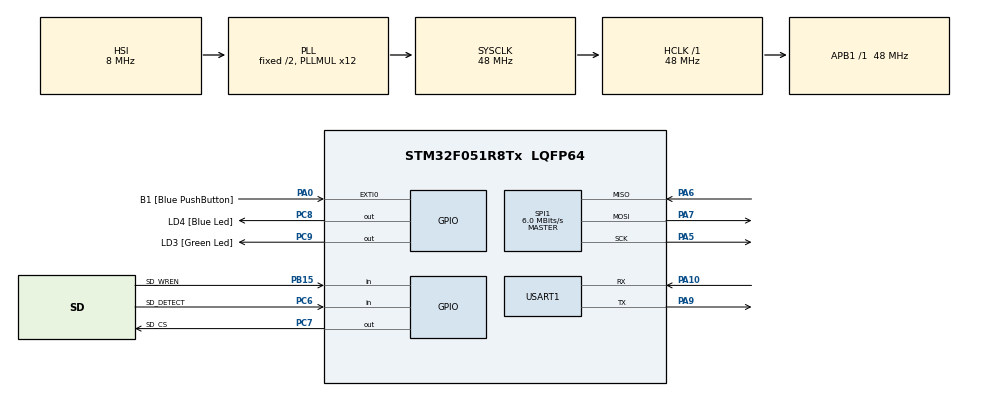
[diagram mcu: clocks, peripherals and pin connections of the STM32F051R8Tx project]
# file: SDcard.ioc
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FATFS._MAX_SS=512
FATFS._USE_LFN=2
FREERTOS.Tasks01=defaultTask,0,128,StartDefaultTask,Default,NULL
Mcu.Family=STM32F0
Mcu.Name=STM32F051R8Tx
Mcu.Package=LQFP64
PA0.GPIO_Label=B1 [Blue PushButton]
PA0.GPIO_ModeDefaultEXTI=GPIO_MODE_EVT_RISING
PA0.Signal=GPXTI0
PA10.Mode=Asynchronous
PA10.Signal=USART1_RX
PA13.GPIO_Label=SWDIO
PA13.Mode=Serial_Wire
PA13.Signal=SYS_SWDIO
PA14.GPIO_Label=SWCLK
PA14.Mode=Serial_Wire
PA14.Signal=SYS_SWCLK
PA5.Mode=Full_Duplex_Master
PA5.Signal=SPI1_SCK
PA6.Mode=Full_Duplex_Master
PA6.Signal=SPI1_MISO
PA7.Mode=Full_Duplex_Master
PA7.Signal=SPI1_MOSI
PA9.Mode=Asynchronous
PA9.Signal=USART1_TX
PB15.GPIO_Label=SD_WREN
PB15.GPIO_PuPd=GPIO_PULLUP
PB15.Signal=GPIO_Input
PC6.GPIO_Label=SD_DETECT
PC6.GPIO_PuPd=GPIO_PULLUP
PC6.Signal=GPIO_Input
PC7.GPIO_Label=SD_CS
PC7.GPIO_Speed=GPIO_SPEED_FREQ_HIGH
PC7.PinState=GPIO_PIN_SET
PC7.Signal=GPIO_Output
PC8.GPIO_Label=LD4 [Blue Led]
PC8.Signal=GPIO_Output
PC9.GPIO_Label=LD3 [Green Led]
PC9.Signal=GPIO_Output
ProjectManager.HeapSize=0x200
ProjectManager.StackSize=0x400
ProjectManager.TargetToolchain=TrueSTUDIO
RCC.AHBFreq_Value=48000000
RCC.APB1Freq_Value=48000000
RCC.APB1TimFreq_Value=48000000
RCC.HCLKFreq_Value=48000000
RCC.PLLMUL=RCC_PLL_MUL12
RCC.SYSCLKFreq_VALUE=48000000
RCC.SYSCLKSource=RCC_SYSCLKSOURCE_PLLCLK
SPI1.BaudRatePrescaler=SPI_BAUDRATEPRESCALER_8
SPI1.CalculateBaudRate=6.0 MBits/s
SPI1.DataSize=SPI_DATASIZE_8BIT
SPI1.Direction=SPI_DIRECTION_2LINES
SPI1.Mode=SPI_MODE_MASTER
SPI1.VirtualType=VM_MASTER
USART1.VirtualMode-Asynchronous=VM_ASYNC
VP_FATFS_VS_Generic.Mode=User_defined
VP_FREERTOS_VS_ENABLE.Mode=Enabled
board=STM32F0DISCOVERY

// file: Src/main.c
/* USER CODE BEGIN Header */
/**
  ******************************************************************************
  * @file           : main.c
  * @brief          : Main program body
  ******************************************************************************
  * This notice applies to any and all portions of this file
  * that are not between comment pairs USER CODE BEGIN and
  * USER CODE END. Other portions of this file, whether
  * inserted by the user or by software development tools
  * are owned by their respective copyright owners.
  *
  * Copyright (c) 2019 STMicroelectronics International N.V.
  * All rights reserved.
  *
  * Redistribution and use in source and binary forms, with or without
  * modification, are permitted, provided that the following conditions are met:
  *
  * 1. Redistribution of source code must retain the above copyright notice,
  *    this list of conditions and the following disclaimer.
  * 2. Redistributions in binary form must reproduce the above copyright notice,
  *    this list of conditions and the following disclaimer in the documentation
  *    and/or other materials provided with the distribution.
  * 3. Neither the name of STMicroelectronics nor the names of other
  *    contributors to this software may be used to endorse or promote products
  *    derived from this software without specific written permission.
  * 4. This software, including modifications and/or derivative works of this
  *    software, must execute solely and exclusively on microcontroller or
  *    microprocessor devices manufactured by or for STMicroelectronics.
  * 5. Redistribution and use of this software other than as permitted under
  *    this license is void and will automatically terminate your rights under
  *    this license.
  *
  * THIS SOFTWARE IS PROVIDED BY STMICROELECTRONICS AND CONTRIBUTORS "AS IS"
  * AND ANY EXPRESS, IMPLIED OR STATUTORY WARRANTIES, INCLUDING, BUT NOT
  * LIMITED TO, THE IMPLIED WARRANTIES OF MERCHANTABILITY, FITNESS FOR A
  * PARTICULAR PURPOSE AND NON-INFRINGEMENT OF THIRD PARTY INTELLECTUAL PROPERTY
  * RIGHTS ARE DISCLAIMED TO THE FULLEST EXTENT PERMITTED BY LAW. IN NO EVENT
  * SHALL STMICROELECTRONICS OR CONTRIBUTORS BE LIABLE FOR ANY DIRECT, INDIRECT,
  * INCIDENTAL, SPECIAL, EXEMPLARY, OR CONSEQUENTIAL DAMAGES (INCLUDING, BUT NOT
  * LIMITED TO, PROCUREMENT OF SUBSTITUTE GOODS OR SERVICES; LOSS OF USE, DATA,
  * OR PROFITS; OR BUSINESS INTERRUPTION) HOWEVER CAUSED AND ON ANY THEORY OF
  * LIABILITY, WHETHER IN CONTRACT, STRICT LIABILITY, OR TORT (INCLUDING
  * NEGLIGENCE OR OTHERWISE) ARISING IN ANY WAY OUT OF THE USE OF THIS SOFTWARE,
  * EVEN IF ADVISED OF THE POSSIBILITY OF SUCH DAMAGE.
  *
  ******************************************************************************
  */
/* USER CODE END Header */

#include "main.h"
#include "cmsis_os.h"
#include "fatfs.h"
#include "stm32f0xx_hal.h"

SPI_HandleTypeDef hspi1;

UART_HandleTypeDef huart1;

osThreadId defaultTaskHandle;
/* USER CODE BEGIN PV */

FATFS fs;
FATFS *pfs;
FIL fil;
FRESULT fres;
DWORD fre_clust;
uint32_t total, free;
char buffer[100];

/* USER CODE END PV */

void SystemClock_Config(void);
static void MX_GPIO_Init(void);
static void MX_SPI1_Init(void);
static void MX_USART1_UART_Init(void);
void StartDefaultTask(void const * argument);

int main(void)
{

  /* MCU Configuration--------------------------------------------------------*/

  /* Reset of all peripherals, Initializes the Flash interface and the Systick. */
  HAL_Init();

  /* Configure the system clock */
  SystemClock_Config();

  /* Initialize all configured peripherals */
  MX_GPIO_Init();
  MX_SPI1_Init();
  MX_USART1_UART_Init();

  /* Create the thread(s) */
  /* definition and creation of defaultTask */
  osThreadDef(defaultTask, StartDefaultTask, osPriorityNormal, 0, 128);
  defaultTaskHandle = osThreadCreate(osThread(defaultTask), NULL);

  /* Start scheduler */
  osKernelStart();

  /* We should never get here as control is now taken by the scheduler */

  /* Infinite loop */
  while (1)
  {

  }
}

void SystemClock_Config(void)
{
  RCC_OscInitTypeDef RCC_OscInitStruct = {0};
  RCC_ClkInitTypeDef RCC_ClkInitStruct = {0};
  RCC_PeriphCLKInitTypeDef PeriphClkInit = {0};

  /**Initializes the CPU, AHB and APB busses clocks
  */
  RCC_OscInitStruct.OscillatorType = RCC_OSCILLATORTYPE_HSI;
  RCC_OscInitStruct.HSIState = RCC_HSI_ON;
  RCC_OscInitStruct.HSICalibrationValue = RCC_HSICALIBRATION_DEFAULT;
  RCC_OscInitStruct.PLL.PLLState = RCC_PLL_ON;
  RCC_OscInitStruct.PLL.PLLSource = RCC_PLLSOURCE_HSI;
  RCC_OscInitStruct.PLL.PLLMUL = RCC_PLL_MUL12;
  RCC_OscInitStruct.PLL.PREDIV = RCC_PREDIV_DIV1;
  if (HAL_RCC_OscConfig(&RCC_OscInitStruct) != HAL_OK)
  {
	  _Error_Handler(__FILE__, __LINE__);
  }
  /**Initializes the CPU, AHB and APB busses clocks
  */
  RCC_ClkInitStruct.ClockType = RCC_CLOCKTYPE_HCLK|RCC_CLOCKTYPE_SYSCLK
                              |RCC_CLOCKTYPE_PCLK1;
  RCC_ClkInitStruct.SYSCLKSource = RCC_SYSCLKSOURCE_PLLCLK;
  RCC_ClkInitStruct.AHBCLKDivider = RCC_SYSCLK_DIV1;
  RCC_ClkInitStruct.APB1CLKDivider = RCC_HCLK_DIV1;

  if (HAL_RCC_ClockConfig(&RCC_ClkInitStruct, FLASH_LATENCY_1) != HAL_OK)
  {
	  _Error_Handler(__FILE__, __LINE__);
  }
  PeriphClkInit.PeriphClockSelection = RCC_PERIPHCLK_USART1;
  PeriphClkInit.Usart1ClockSelection = RCC_USART1CLKSOURCE_PCLK1;
  if (HAL_RCCEx_PeriphCLKConfig(&PeriphClkInit) != HAL_OK)
  {
	  _Error_Handler(__FILE__, __LINE__);
  }
}

static void MX_SPI1_Init(void)
{

  /* SPI1 parameter configuration*/
  hspi1.Instance = SPI1;
  hspi1.Init.Mode = SPI_MODE_MASTER;
  hspi1.Init.Direction = SPI_DIRECTION_2LINES;
  hspi1.Init.DataSize = SPI_DATASIZE_8BIT;
  hspi1.Init.CLKPolarity = SPI_POLARITY_LOW;
  hspi1.Init.CLKPhase = SPI_PHASE_1EDGE;
  hspi1.Init.NSS = SPI_NSS_SOFT;
  hspi1.Init.BaudRatePrescaler = SPI_BAUDRATEPRESCALER_8;
  hspi1.Init.FirstBit = SPI_FIRSTBIT_MSB;
  hspi1.Init.TIMode = SPI_TIMODE_DISABLE;
  hspi1.Init.CRCCalculation = SPI_CRCCALCULATION_DISABLE;
  hspi1.Init.CRCPolynomial = 10;
  if (HAL_SPI_Init(&hspi1) != HAL_OK)
  {
	  printf("\n\r HoaiTV call when init SPI failed.\n");
	  _Error_Handler(__FILE__, __LINE__);
  }

}

static void MX_USART1_UART_Init(void)
{

  huart1.Instance = USART1;
  huart1.Init.BaudRate = 115200;
  huart1.Init.WordLength = UART_WORDLENGTH_8B;
  huart1.Init.StopBits = UART_STOPBITS_1;
  huart1.Init.Parity = UART_PARITY_NONE;
  huart1.Init.Mode = UART_MODE_TX_RX;
  huart1.Init.HwFlowCtl = UART_HWCONTROL_NONE;
  huart1.Init.OverSampling = UART_OVERSAMPLING_16;
  huart1.Init.OneBitSampling = UART_ONE_BIT_SAMPLE_DISABLE;
  huart1.AdvancedInit.AdvFeatureInit = UART_ADVFEATURE_NO_INIT;
  if (HAL_UART_Init(&huart1) != HAL_OK)
  {
	  _Error_Handler(__FILE__, __LINE__);
  }

}

static void MX_GPIO_Init(void)
{
  GPIO_InitTypeDef GPIO_InitStruct = {0};

  /* GPIO Ports Clock Enable */
  __HAL_RCC_GPIOA_CLK_ENABLE();
  __HAL_RCC_GPIOB_CLK_ENABLE();
  __HAL_RCC_GPIOC_CLK_ENABLE();

  /*Configure GPIO pin Output Level */
  HAL_GPIO_WritePin(SD_CS_GPIO_Port, SD_CS_Pin, GPIO_PIN_SET);

  /*Configure GPIO pin Output Level */
  HAL_GPIO_WritePin(GPIOC, LD4_Pin|LD3_Pin, GPIO_PIN_RESET);

  /*Configure GPIO pin : B1_Pin */
  GPIO_InitStruct.Pin = B1_Pin;
  GPIO_InitStruct.Mode = GPIO_MODE_EVT_RISING;
  GPIO_InitStruct.Pull = GPIO_NOPULL;
  HAL_GPIO_Init(B1_GPIO_Port, &GPIO_InitStruct);

  /*Configure GPIO pin : SD_WREN_Pin */
  GPIO_InitStruct.Pin = SD_WREN_Pin;
  GPIO_InitStruct.Mode = GPIO_MODE_INPUT;
  GPIO_InitStruct.Pull = GPIO_PULLUP;
  HAL_GPIO_Init(SD_WREN_GPIO_Port, &GPIO_InitStruct);

  /*Configure GPIO pin : SD_DETECT_Pin */
  GPIO_InitStruct.Pin = SD_DETECT_Pin;
  GPIO_InitStruct.Mode = GPIO_MODE_INPUT;
  GPIO_InitStruct.Pull = GPIO_PULLUP;
  HAL_GPIO_Init(SD_DETECT_GPIO_Port, &GPIO_InitStruct);

  /*Configure GPIO pin : SD_CS_Pin */
  GPIO_InitStruct.Pin = SD_CS_Pin;
  GPIO_InitStruct.Mode = GPIO_MODE_OUTPUT_PP;
  GPIO_InitStruct.Pull = GPIO_NOPULL;
  GPIO_InitStruct.Speed = GPIO_SPEED_FREQ_HIGH;
  HAL_GPIO_Init(SD_CS_GPIO_Port, &GPIO_InitStruct);

  /*Configure GPIO pins : LD4_Pin LD3_Pin */
  GPIO_InitStruct.Pin = LD4_Pin|LD3_Pin;
  GPIO_InitStruct.Mode = GPIO_MODE_OUTPUT_PP;
  GPIO_InitStruct.Pull = GPIO_NOPULL;
  GPIO_InitStruct.Speed = GPIO_SPEED_FREQ_LOW;
  HAL_GPIO_Init(GPIOC, &GPIO_InitStruct);

}

void StartDefaultTask(void const * argument)
{
  /* init code for FATFS */

  /* USER CODE BEGIN 5 */

  /* Mount SD Card */
  if(f_mount(&fs, "", 0) != FR_OK)
    _Error_Handler(__FILE__, __LINE__);

  /* Open file to write */
  if(f_open(&fil, "first.txt", FA_OPEN_ALWAYS | FA_READ | FA_WRITE) != FR_OK)
    _Error_Handler(__FILE__, __LINE__);

  /* Check free space */
  if(f_getfree("", &fre_clust, &pfs) != FR_OK)
    _Error_Handler(__FILE__, __LINE__);

  total = (uint32_t)((pfs->n_fatent - 2) * pfs->csize * 0.5);
  free = (uint32_t)(fre_clust * pfs->csize * 0.5);

  /* Free space oi tais less than 1kb */
  if(free < 1)
    _Error_Handler(__FILE__, __LINE__);

  /* Writing text */
  f_puts("STM32 SD Card I/O Example via SPI\n", &fil);
  f_puts("Save the world!!!", &fil);

  /* Close file */
  if(f_close(&fil) != FR_OK)
    _Error_Handler(__FILE__, __LINE__);

  /* Open file to read */
  if(f_open(&fil, "first.txt", FA_READ) != FR_OK)
    _Error_Handler(__FILE__, __LINE__);

  while(f_gets(buffer, sizeof(buffer), &fil))
  {
    printf("%s", buffer);
  }

  /* Close file */
  if(f_close(&fil) != FR_OK)
    _Error_Handler(__FILE__, __LINE__);

  /* Unmount SDCARD */
  if(f_mount(NULL, "", 1) != FR_OK)
    _Error_Handler(__FILE__, __LINE__);
  /* Infinite loop */
  for(;;)
  {
    osDelay(1);
  }
  /* USER CODE END 5 */
}

void _Error_Handler(char * file, int line)
{
	  while(1)
	  {
	  }
}

/************************ (C) COPYRIGHT STMicroelectronics *****END OF FILE****/
